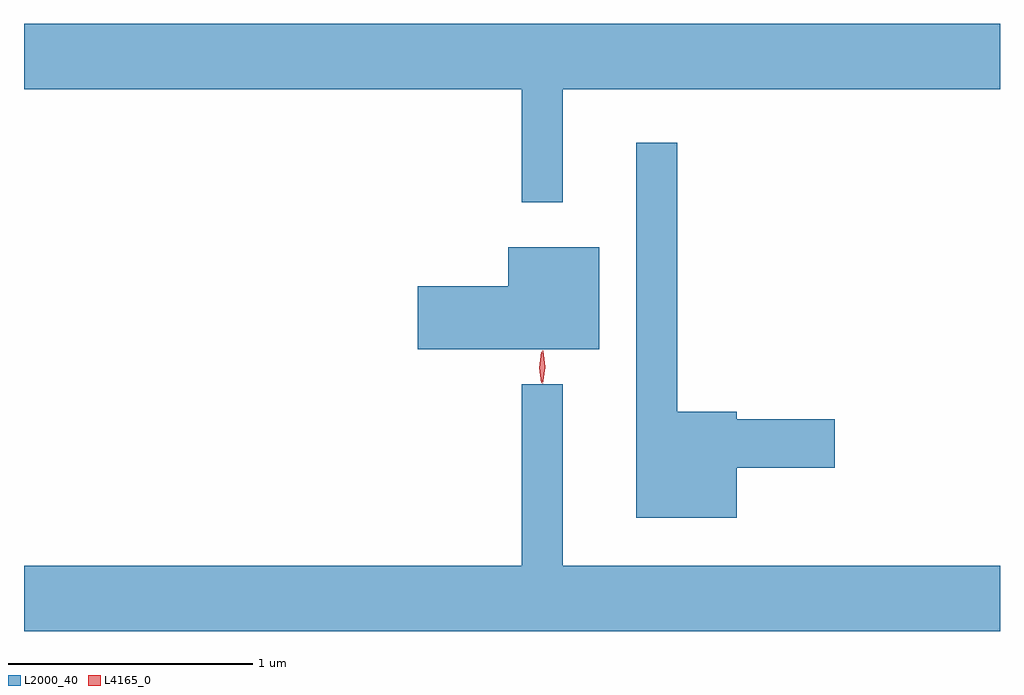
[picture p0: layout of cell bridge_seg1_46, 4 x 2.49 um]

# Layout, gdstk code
import gdstk
lib = gdstk.Library(unit=1e-6, precision=1e-09)
def P(c, l, *ps):  # polygons
    for p in ps: c.add(gdstk.Polygon(p, *l))
L2000_40 = (2000, 40)
L4165_0 = (4165, 0)

bridge_seg1_46 = lib.new_cell('bridge_seg1_46')
P(bridge_seg1_46, L2000_40, [(1824.649,935.096),(1826.442,935.096),(1826.442,935.364),(1822.442,935.364),(1822.442,935.096),(1824.481,935.096),(1824.481,934.633),(1824.649,934.633)],
  [(1825.364,933.546),(1825.764,933.546),(1825.764,933.744),(1825.364,933.744),(1825.364,933.774),(1825.119,933.774),(1825.119,934.878),(1824.951,934.878),(1824.951,933.341),(1825.364,933.341)],
  [(1824.799,934.449),(1824.426,934.449),(1824.426,934.289),(1824.056,934.289),(1824.056,934.031),(1824.799,934.031)],
  [(1826.442,933.144),(1824.649,933.144),(1824.649,933.888),(1824.481,933.888),(1824.481,933.144),(1822.442,933.144),(1822.442,932.876),(1826.442,932.876)])
P(bridge_seg1_46, L4165_0, [(1824.562,933.893),(1824.553,933.956),(1824.562,934.019),(1824.563,934.02),(1824.563,934.019),(1824.573,933.956),(1824.563,933.893),(1824.563,933.893)],
  [(1824.568,933.89),(1824.568,933.89),(1824.559,933.958),(1824.569,934.025),(1824.569,934.026),(1824.57,934.025),(1824.579,933.958),(1824.568,933.89)])

lib.write_gds('bridge_seg1_46.gds')
